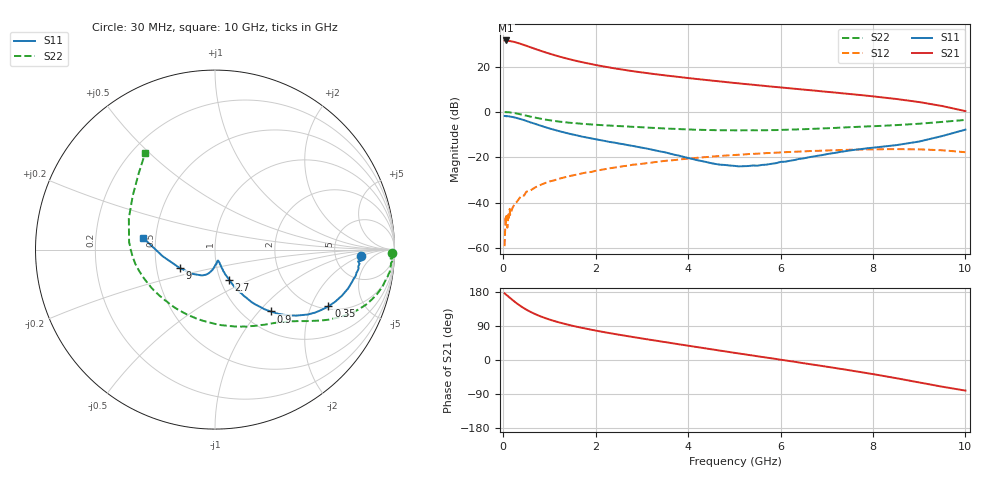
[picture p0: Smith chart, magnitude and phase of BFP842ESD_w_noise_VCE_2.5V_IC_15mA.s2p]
! Infineon Technologies  Discrete & RF Semiconductors
! BFP842ESD
! VCE =  2.5 V,  IC =  15 mA
! Common Emitter S-Parameters:  May 2012
# GHz  S  MA  R  50
!  f  S11  S21  S12  S22
! GHz  MAG  ANG  MAG  ANG  MAG  ANG  MAG  ANG
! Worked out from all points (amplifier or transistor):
!   99 points, 30 MHz to 10 GHz, reference 50 ohm
!   highest |S21| = 31.5 dB at 60 MHz (marker M1)
!   |S21| within 3 dB of that: start of sweep to 589.8 MHz
!   unconditionally stable (mu >= 1): 2.54 GHz to end of sweep
!   at 350 MHz: K = 0.35, MSG = 34.1 dB, |S12| = -38.1 dB
!   at 3.5 GHz: K = 1.05, MAG = 17.4 dB, |S12| = -21.6 dB
!   at 10 GHz: K = 1.78, MAG = 3.9 dB, |S12| = -17.8 dB
!   lowest NFmin = 0.71 dB at 450 MHz
!   S11 on the Smith chart (normalised r, x): 30 MHz: 9.32, -1.87; 350 MHz: 2.13, -2.68; 900 MHz: 1.32, -1.16; 2.7 GHz: 1.10, -0.38; 9 GHz: 0.66, -0.14; 10 GHz: 0.42, +0.07
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0.03  0.813 -2.4  37.44 176.1  0.0011 44.7  0.9842 -1.2
0.05  0.8153 -4.4  37.01 173.6  0.005 74.1  0.9887 -2.9
0.06  0.7998 -4.7  37.49 172.7  0.0036 -81.9  0.9799 -3.0
0.09  0.8068 -7.4  36.52 169.9  0.0028 73.4  0.984 -5.0
0.11  0.7986 -9.4  36.97 167.5  0.0058 103.0  0.9807 -6.8
0.15  0.7875 -12.5  36.29 163.5  0.0054 82.2  0.9698 -9.2
0.25  0.7521 -20.0  34.57 153.5  0.0095 72.8  0.9372 -15.2
0.35  0.7062 -26.6  32.26 144.5  0.0125 76.4  0.8938 -20.2
0.5  0.632 -34.9  28.66 132.9  0.0174 69.2  0.8259 -26.0
0.6  0.5832 -39.1  26.31 126.4  0.0189 68.1  0.7816 -29.0
0.8  0.5 -45.6  22.35 115.5  0.0244 65.3  0.7105 -33.8
0.9  0.4637 -48.0  20.69 111.0  0.0269 64.0  0.6799 -35.7
1.2  0.3789 -53.7  16.72 99.5  0.0334 60.9  0.614 -40.4
1.7  0.286 -58.9  12.5 85.0  0.044 56.7  0.5465 -47.6
2.1  0.2388 -62.1  10.34 75.4  0.0525 52.5  0.5128 -53.7
2.7  0.1851 -64.9  8.183 62.8  0.0653 46.7  0.4753 -63.6
3.4  0.1341 -68.3  6.566 49.2  0.081 38.6  0.4362 -77.9
5.1  0.063 -74.7  4.246 17.2  0.1137 16.1  0.3918 -119.5
6.7  0.1035 -94.0  2.967 -12.1  0.1381 -6.8  0.4228 -155.8
8.5  0.1849 -133.0  1.928 -47.9  0.1513 -38.0  0.5108 160.0
9  0.2223 -152.7  1.646 -59.2  0.1495 -48.2  0.5486 146.6
10  0.4061 170.7  1.04 -80.7  0.1293 -70.0  0.6655 125.7
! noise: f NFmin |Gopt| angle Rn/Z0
0.45  0.71  0.03  -24  0.09
0.9  0.71  0.02  -61  0.08
1.5  0.73  0.03  -97  0.08
1.9  0.73  0.04  -116  0.08
2.4  0.73  0.06  -122  0.08
3.5  0.8  0.08  -128  0.08
4  0.83  0.09  -124  0.09
5  0.9  0.13  -112  0.09
5.5  1.01  0.15  -109  0.1
6  1.11  0.15  -106  0.11
